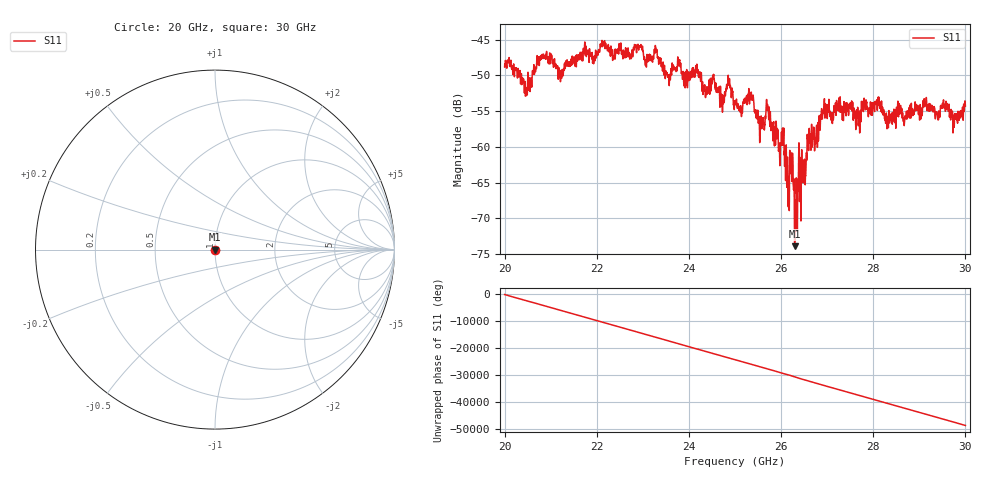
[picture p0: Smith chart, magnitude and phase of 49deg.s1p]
#  HZ  S  RI  R  50.00
! Rohde & Schwarz ZVA40 4Ports - Version 3.90 - 1145.1110k42 SN: 100403
! Date: 2023-10-03 11:58:22
! Measurement: S12
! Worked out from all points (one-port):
!   5001 points, 20 GHz to 30 GHz, reference 50 ohm
!   lowest |S11| = -73.9 dB at 26.29 GHz (marker M1), VSWR 1.00, Z = 50 - j0.0196 ohm
!   |S11| at or under -10 dB: start of sweep to end of sweep
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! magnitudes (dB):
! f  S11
! 20 GHz  -48.8
! 20.48 GHz  -52.7
! 20.81 GHz  -47.3
! 21.25 GHz  -49.4
! 21.75 GHz  -47.2
! 22.5 GHz  -45.9
! 23.29 GHz  -46.5
! 23.55 GHz  -50.1
! 23.75 GHz  -48.8
! 23.93 GHz  -49.5
! 24.19 GHz  -49.3
! 24.35 GHz  -52.1
! 24.54 GHz  -49.9
! 24.72 GHz  -53.5
! 24.86 GHz  -50.9
! 25 GHz  -54.1
! 25.35 GHz  -52.9
! 25.58 GHz  -57.5
! 25.72 GHz  -55.0
! 26.25 GHz  -61.3
! 26.29 GHz  -73.9
! 26.33 GHz  -64.9
! 26.61 GHz  -57.8
! 26.77 GHz  -57.0
! 26.92 GHz  -55.2
! 27.5 GHz  -54.0
! 28.75 GHz  -55.0
! 30 GHz  -54.3
